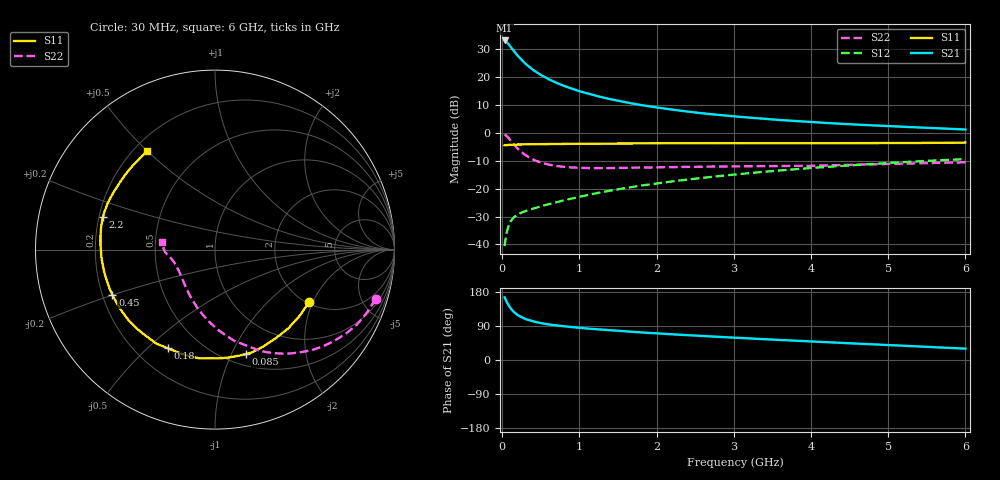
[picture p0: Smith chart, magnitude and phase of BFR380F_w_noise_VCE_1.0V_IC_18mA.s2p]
! Infineon Technologies  Discrete & RF Semiconductors
! BFR380F
! VCE =  1.0 V,  IC =  18 mA
! Common Emitter S-Parameters:  Nov 2015
# GHz  S  MA  R  50
!  f  S11  S21  S12  S22
! GHz  MAG  ANG  MAG  ANG  MAG  ANG  MAG  ANG
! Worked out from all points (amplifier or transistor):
!   206 points, 30 MHz to 6 GHz, reference 50 ohm
!   highest |S21| = 33.1 dB at 30 MHz (marker M1)
!   |S21| within 3 dB of that: start of sweep to 127.3 MHz
!   unconditionally stable (mu >= 1): 1.256 GHz to end of sweep
!   at 200 MHz: K = 0.37, MSG = 28.4 dB, |S12| = -29.3 dB
!   at 1.56 GHz: K = 1.03, MAG = 14.4 dB, |S12| = -20.0 dB
!   at 6 GHz: K = 1.01, MAG = 4.8 dB, |S12| = -9.4 dB
!   lowest NFmin = 1.00 dB at 900 MHz
!   S11 on the Smith chart (normalised r, x): 30 MHz: 2.06, -1.87; 85 MHz: 0.62, -1.14; 180 MHz: 0.33, -0.58; 450 MHz: 0.24, -0.20; 2.2 GHz: 0.22, +0.14; 6 GHz: 0.25, +0.50
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0.03  0.6 -29.0  45.06 165.5  0.0093 78.4  0.9367 -17.1
0.05  0.5993 -47.0  43.14 156.1  0.0148 71.2  0.8944 -27.8
0.07  0.603 -63.1  40.27 148.3  0.0192 65.7  0.8373 -37.3
0.085  0.6067 -73.3  38.01 143.4  0.0221 62.2  0.7929 -43.8
0.1  0.6059 -82.6  35.75 138.6  0.0246 58.9  0.7488 -49.7
0.13  0.612 -97.7  31.54 130.9  0.0286 53.9  0.6666 -60.0
0.15  0.6116 -106.2  29.08 126.6  0.0306 51.7  0.6184 -65.9
0.18  0.6094 -115.7  25.9 122.0  0.0329 49.4  0.5565 -72.7
0.2  0.6171 -121.9  23.89 118.3  0.0344 48.0  0.5204 -78.0
0.24  0.6169 -130.6  20.87 113.8  0.0366 46.6  0.463 -85.5
0.3  0.622 -141.0  17.27 108.0  0.0396 46.0  0.3983 -95.6
0.38  0.6225 -150.1  14.04 103.0  0.0431 46.8  0.3432 -105.8
0.45  0.6253 -156.1  11.98 99.3  0.046 48.0  0.3103 -113.5
0.7  0.63 -168.9  7.857 91.2  0.057 53.1  0.2548 -132.6
1.04  0.6352 -178.6  5.35 84.1  0.0735 58.2  0.2345 -147.7
1.4  0.6411 174.5  3.995 78.3  0.092 61.3  0.2333 -156.7
2.02  0.6491 165.8  2.814 70.1  0.125 63.2  0.2405 -164.0
2.2  0.6502 163.6  2.597 67.8  0.1345 63.4  0.2429 -165.3
3.1  0.6502 154.5  1.916 58.1  0.1837 62.5  0.2506 -169.3
4.1  0.6491 144.1  1.527 47.9  0.2391 59.3  0.2579 -171.7
5.1  0.6546 134.4  1.298 38.6  0.2926 55.0  0.2784 -177.4
6  0.6683 124.3  1.145 30.0  0.3374 50.0  0.2965 172.2
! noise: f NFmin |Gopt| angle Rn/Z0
0.45  1.04  0.18  170  0.08
0.9  1  0.24  167  0.08
1.8  1.24  0.35  -178  0.07
1.9  1.31  0.36  -178  0.07
2.4  1.41  0.39  -167  0.08
3.5  2.01  0.48  -154  0.12
